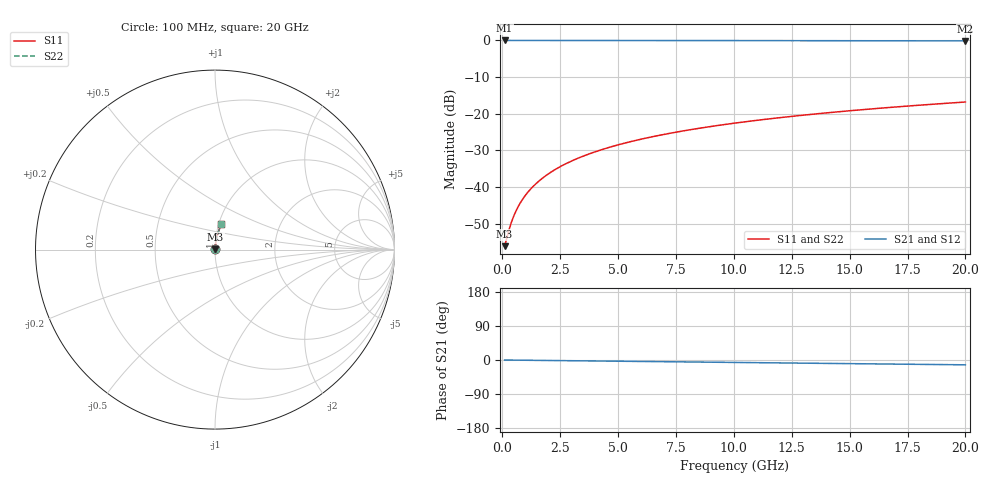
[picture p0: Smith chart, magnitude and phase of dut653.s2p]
! Touchstone file exported from HFSS 2026.1.0
!  File:  C:/ffzhzh/LocalFiles/Ansys_Project_Files/temp_train_TSV_653_1783026704_51716.aedt
!  Generated:  05:14:22 AM Jul  3, 2026
!  Design:  TSV
!  Project:  temp_train_TSV_653_1783026704_51716
! Variables:
!  h_bsmrdl = 2um
!  h_ox = 20um
!  h_rdl = 5um
!  h_sub = 95.46um
!  h_tmrdl = 5um
!  h_tsv = 95.46um
!  h_via = 3um
!  l_bsmrdl = 300um
!  l_sub = 405.7um
!  l_tmrdl = 200um
!  m_sub = 200um
!  pitch = 46.37um
!  r_tsv = 2.85um
!  s_tmrdl = 10um
!  w_bsmrdl = 18um
!  w_sub = 500um
!  w_tmrdl = 12um
!  x_tsv_center1 = 206um
!  x_tsv_center2 = 524um
!  x_tsv_center3 = 736um
!  x_tsv_center4 = 1054um
!  x_tsv_center5 = 1266um
!  x_tsv_center6 = 1584um
# GHz S MA R 50.000000
! Terminal data exported
! Port[1] = TSV1_1_T1
! Port[2] = TSV1_1_T2
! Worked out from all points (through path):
!   200 points, 100 MHz to 20 GHz, reference 50 ohm
!   highest |S21| = -0.01 dB at 100 MHz (marker M1); lowest = -0.1 dB at 20 GHz (marker M2)
!   group delay of S21, straight-line fit = 1.77 ps
!   lowest |S11| = -56.1 dB at 100 MHz (marker M3), VSWR 1.00, Z = 50.1 + j0.0767 ohm
!   |S11| at or under -10 dB: start of sweep to end of sweep
!   |S22| runs from -56.1 to -16.8 dB; largest |S21 - S12| = 3.2e-15
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0.1  0.001558 29.4  0.9986 -0.1  0.9986 -0.1  0.001558 29.4
! Gamma 0 0 0 0
! Port Impedance 50 0 50 0
0.3  0.00267 58.9  0.9986 -0.2  0.9986 -0.2  0.00267 58.9
0.4  0.003346 65.4  0.9986 -0.3  0.9986 -0.3  0.003346 65.4
0.5  0.00405 69.6  0.9986 -0.3  0.9986 -0.3  0.00405 69.6
0.6  0.004769 72.6  0.9986 -0.4  0.9986 -0.4  0.004769 72.6
0.7  0.005497 74.8  0.9986 -0.5  0.9986 -0.5  0.005497 74.8
0.9  0.006968 77.7  0.9986 -0.6  0.9986 -0.6  0.006968 77.7
1.2  0.009198 80.3  0.9985 -0.8  0.9985 -0.8  0.009198 80.3
1.4  0.01069 81.3  0.9985 -0.9  0.9985 -0.9  0.01069 81.3
1.7  0.01294 82.4  0.9984 -1.1  0.9984 -1.1  0.01294 82.4
2.2  0.01669 83.4  0.9983 -1.4  0.9983 -1.4  0.01669 83.4
2.8  0.02118 83.9  0.9982 -1.8  0.9982 -1.8  0.02118 83.9
3.5  0.02642 84.1  0.998 -2.3  0.998 -2.3  0.02642 84.1
4.2  0.03164 84.0  0.9977 -2.7  0.9977 -2.7  0.03164 84.0
5  0.03759 83.8  0.9974 -3.3  0.9974 -3.3  0.03759 83.8
5.9  0.04424 83.5  0.997 -3.8  0.997 -3.8  0.04424 83.5
6.8  0.05086 83.1  0.9965 -4.4  0.9965 -4.4  0.05086 83.1
8.3  0.0618 82.3  0.9956 -5.4  0.9956 -5.4  0.0618 82.3
10.1  0.07482 81.3  0.9944 -6.5  0.9944 -6.5  0.07482 81.3
13.4  0.09838 79.4  0.9918 -8.6  0.9918 -8.6  0.09838 79.4
16.7  0.1216 77.6  0.9888 -10.7  0.9888 -10.7  0.1216 77.6
20  0.1444 75.6  0.9854 -12.7  0.9854 -12.7  0.1444 75.6
